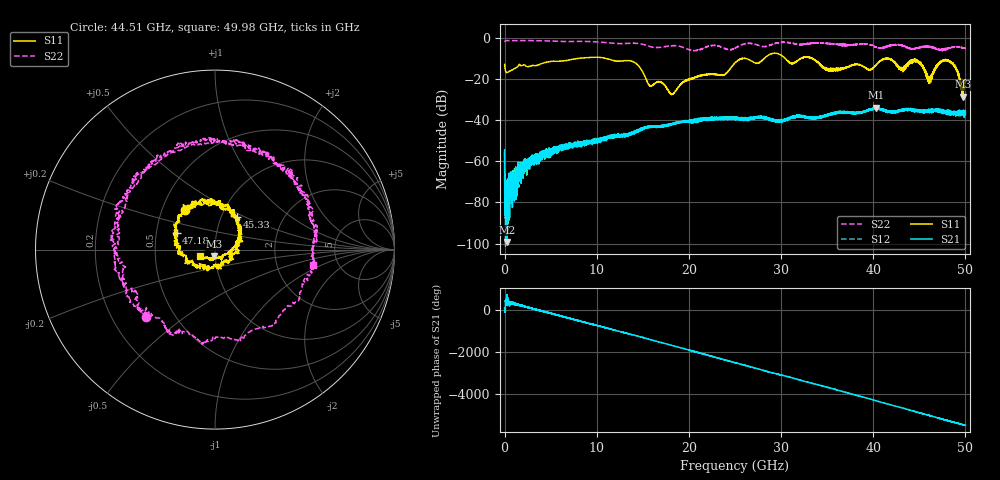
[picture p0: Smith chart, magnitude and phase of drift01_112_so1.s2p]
!Created with skrf (http://scikit-rf.org).
# Hz S RI R 50.0
!freq ReS11 ImS11 ReS21 ImS21 ReS12 ImS12 ReS22 ImS22
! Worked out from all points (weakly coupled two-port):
!   10001 points, 300 kHz to 50 GHz, reference 50 ohm
!   highest |S21| = -33.98 dB at 40.3 GHz (marker M1); lowest = -99.2 dB at 245.3 MHz (marker M2)
!   lowest |S11| = -28.7 dB at 49.72 GHz (marker M3), VSWR 1.08, Z = 49.5 - j3.63 ohm
!   |S11| at or under -10 dB: 10.91 GHz to 26 GHz (15.09 GHz wide, 81.8 % of centre); 33.36 GHz to 41.56 GHz (8.201 GHz wide, 21.9 % of centre); 41.57 GHz to end of sweep (the widest 3 of 10)
!   |S22| runs from -6.4 to -1.4 dB; largest |S21 - S12| = 0.0041
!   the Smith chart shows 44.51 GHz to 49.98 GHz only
!   S11 on the Smith chart (normalised r, x): 44.51 GHz: 0.65, +0.31; 45.33 GHz: 1.19, +0.46; 47.18 GHz: 0.64, +0.12; 49.98 GHz: 0.84, -0.06
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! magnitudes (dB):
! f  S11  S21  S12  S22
! 300 kHz  -13.0  -54.5  -55.2  -2.1
! 245.3 MHz  -16.9  -99.2  -73.8  -1.4
! 3.195 GHz  -13.5  -58.8  -59.4  -1.5
! 8.335 GHz  -9.9  -51.2  -50.9  -1.8
! 13.8 GHz  -11.4  -46.2  -46.4  -2.7
! 15.74 GHz  -23.3  -43.6  -42.9  -4.2
! 16.67 GHz  -21.3  -43.4  -43.2  -4.8
! 18.21 GHz  -27.3  -42.1  -41.9  -3.9
! 25 GHz  -12.2  -39.3  -39.0  -5.1
! 33.34 GHz  -10.0  -39.3  -38.5  -2.7
! 35.25 GHz  -15.3  -37.2  -37.6  -2.9
! 40.3 GHz  -13.4  -34.0  -34.2  -4.6
! 41.67 GHz  -10.2  -36.0  -35.9  -4.1
! 43.07 GHz  -15.2  -35.3  -35.5  -3.6
! 44.51 GHz  -11.2  -35.5  -35.4  -5.4
! 45.33 GHz  -13.1  -35.8  -35.6  -4.6
! 46.11 GHz  -19.9  -35.2  -35.8  -4.3
! 47.18 GHz  -12.7  -35.9  -35.4  -6.1
! 48.64 GHz  -12.5  -36.7  -36.6  -4.7
! 49.72 GHz  -28.7  -37.0  -36.0  -5.1
! 49.98 GHz  -21.0  -35.8  -35.4  -5.2
! 50 GHz  -21.4  -36.3  -36.9  -5.4
